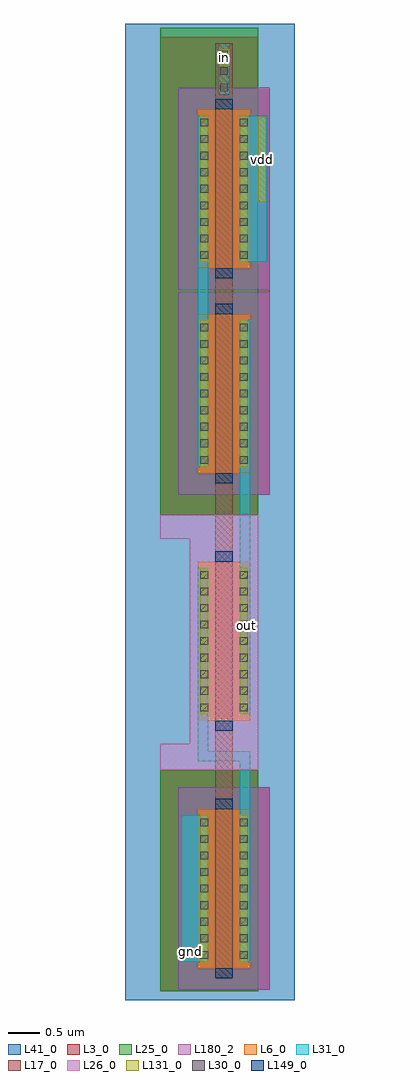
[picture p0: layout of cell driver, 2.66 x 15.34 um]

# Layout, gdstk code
from math import pi, radians
import gdstk
lib = gdstk.Library(unit=1e-6, precision=1e-09)
def R(c, l, rs):  # rectangles x0, y0, x1, y1
    for r in rs: c.add(gdstk.rectangle(r[:2], r[2:], *l))
def A(c, l, x, y, w, h, nx, ny, dx, dy):  # array of equal rectangles
    R(c, l, [(x+i*dx, y+j*dy, x+i*dx+w, y+j*dy+h) for i in range(nx) for j in range(ny)])
L3_0 = (3, 0)
L6_0 = (6, 0)
L17_0 = (17, 0)
L25_0 = (25, 0)
L26_0 = (26, 0)
L30_0 = (30, 0)
L31_0 = (31, 0)
L41_0 = (41, 0)
L131_0 = (131, 0)
L149_0 = (149, 0)
L180_2 = (180, 2)

pc_ct = lib.new_cell('pc_ct')
R(pc_ct, L30_0, [(0,0,0.12,0.12)])

nsvt25_cdns_576677129460 = lib.new_cell('nsvt25_CDNS_576677129460')
R(nsvt25_cdns_576677129460, L6_0, [(-0.27,0,0,2.5), (-0.27,0,0.55,2.5), (0.28,0,0.55,2.5)])
R(nsvt25_cdns_576677129460, L17_0, [(0,-0.16,0.28,2.66)])
R(nsvt25_cdns_576677129460, L26_0, [(-0.4,-0.36,0.68,2.86)])
R(nsvt25_cdns_576677129460, L31_0, [(-0.23,0.1,-0.11,2.4), (0.39,0.1,0.51,2.4)])
R(nsvt25_cdns_576677129460, L41_0, [(-0.54,-0.34,0.82,2.84)])
R(nsvt25_cdns_576677129460, L131_0, [(-0.23,0.1,-0.11,2.4), (0.39,0.1,0.51,2.4)])
R(nsvt25_cdns_576677129460, L149_0, [(0,-0.16,0.28,0), (0,2.5,0.28,2.66)])
r = gdstk.Reference(pc_ct, (0.39,0.15)); r.repetition = gdstk.Repetition(1, 9, v1=(0.26,0), v2=(0,0.26)); nsvt25_cdns_576677129460.add(r)
r = gdstk.Reference(pc_ct, (-0.23,0.15)); r.repetition = gdstk.Repetition(1, 9, v1=(0.26,0), v2=(0,0.26)); nsvt25_cdns_576677129460.add(r)
nsvt25_cdns_576677129460.add(gdstk.Label('d', (0.28,0), layer=6, texttype=0))
nsvt25_cdns_576677129460.add(gdstk.Label('s', (0,0), layer=6, texttype=0))
nsvt25_cdns_576677129460.add(gdstk.Label('d', (0.415,1.25), layer=127, texttype=0))
nsvt25_cdns_576677129460.add(gdstk.Label('s', (-0.135,1.25), layer=127, texttype=0))
nsvt25_cdns_576677129460.add(gdstk.Label('d', (0.45,1.25), layer=131, texttype=0))
nsvt25_cdns_576677129460.add(gdstk.Label('s', (-0.17,1.25), layer=131, texttype=0))
nsvt25_cdns_576677129460.add(gdstk.Label('g', (0.14,2.58), layer=149, texttype=0))
nsvt25_cdns_576677129460.add(gdstk.Label('g', (0.14,-0.08), layer=149, texttype=0))

psvt25_cdns_576677129461 = lib.new_cell('psvt25_CDNS_576677129461')
R(psvt25_cdns_576677129461, L3_0, [(-0.58,-0.34,0.86,2.84)])
R(psvt25_cdns_576677129461, L6_0, [(-0.27,0,0,2.5), (-0.27,0,0.55,2.5), (0.28,0,0.55,2.5)])
R(psvt25_cdns_576677129461, L17_0, [(0,-0.16,0.28,2.66)])
R(psvt25_cdns_576677129461, L25_0, [(-0.4,-0.36,0.68,2.86)])
R(psvt25_cdns_576677129461, L31_0, [(-0.23,0.1,-0.11,2.4), (0.39,0.1,0.51,2.4)])
R(psvt25_cdns_576677129461, L41_0, [(-0.58,-0.34,0.86,2.84)])
R(psvt25_cdns_576677129461, L131_0, [(-0.23,0.1,-0.11,2.4), (0.39,0.1,0.51,2.4)])
R(psvt25_cdns_576677129461, L149_0, [(0,-0.16,0.28,0), (0,2.5,0.28,2.66)])
R(psvt25_cdns_576677129461, L180_2, [(-0.58,-0.34,0.86,2.84)])
r = gdstk.Reference(pc_ct, (0.39,0.15)); r.repetition = gdstk.Repetition(1, 9, v1=(0.26,0), v2=(0,0.26)); psvt25_cdns_576677129461.add(r)
r = gdstk.Reference(pc_ct, (-0.23,0.15)); r.repetition = gdstk.Repetition(1, 9, v1=(0.26,0), v2=(0,0.26)); psvt25_cdns_576677129461.add(r)
psvt25_cdns_576677129461.add(gdstk.Label('d', (0.28,0), layer=6, texttype=0))
psvt25_cdns_576677129461.add(gdstk.Label('s', (0,0), layer=6, texttype=0))
psvt25_cdns_576677129461.add(gdstk.Label('d', (0.415,1.25), layer=127, texttype=0))
psvt25_cdns_576677129461.add(gdstk.Label('s', (-0.135,1.25), layer=127, texttype=0))
psvt25_cdns_576677129461.add(gdstk.Label('d', (0.45,1.25), layer=131, texttype=0))
psvt25_cdns_576677129461.add(gdstk.Label('s', (-0.17,1.25), layer=131, texttype=0))
psvt25_cdns_576677129461.add(gdstk.Label('g', (0.14,2.58), layer=149, texttype=0))
psvt25_cdns_576677129461.add(gdstk.Label('g', (0.14,-0.08), layer=149, texttype=0))
psvt25_cdns_576677129461.add(gdstk.Label('b', (0.14,1.25), layer=180, texttype=2))

m1__po_cdns_576677129460 = lib.new_cell('M1__PO_CDNS_576677129460')
R(m1__po_cdns_576677129460, L17_0, [(-0.08,-0.37,0.08,0.37)])
A(m1__po_cdns_576677129460, L30_0, -0.06, -0.32, 0.12, 0.12, 1, 3, 0, 0.26)
R(m1__po_cdns_576677129460, L31_0, [(-0.06,-0.37,0.06,0.37)])

driver = lib.new_cell('driver')
R(driver, L3_0, [(-1.86,0.63,-0.32,4.11), (-1.86,8.12,-0.32,15.63), (-0.32,11.61,-0.14,11.65)])
R(driver, L17_0, [(-1,3.64,-0.72,3.68), (-1,15.43,-0.72,15.53)])
R(driver, L25_0, [(-1.86,0.63,-1.4,3.85), (-1.86,3.85,-0.32,4.11), (-1.86,8.12,-0.32,8.41), (-1.86,8.41,-1.4,14.85), (-1.86,14.85,-0.32,15.63), (-1.86,15.63,-0.32,15.77)])
R(driver, L26_0, [(-1.86,4.11,-0.32,4.52), (-1.86,7.74,-0.32,8.12)])
R(driver, L31_0, [(-1.53,1.09,-1.23,3.39), (-0.61,1.09,-0.45,4.4), (-1.27,4.98,-1.11,7.28), (-0.61,4.98,-0.45,11.17), (-1.27,8.87,-1.11,14.39), (-0.49,12.09,-0.18,14.39), (-0.94,14.72,-0.78,15.53)])
R(driver, L41_0, [(-2.41,0.49,0.25,15.83)])
R(driver, L131_0, [(-1.44,1.2,-1.32,1.32), (-0.57,6.32,-0.45,6.44), (-0.32,13.04,-0.2,14.37), (-0.93,15.17,-0.78,15.43)])
driver.add(gdstk.FlexPath([(-1.19,4.98),(-1.19,4.32)], 0.16, ends=(0, 0.08), simple_path=True, layer=31, datatype=0))  # L31_0
driver.add(gdstk.FlexPath([(-1.19,4.32),(-0.49,4.32)], 0.16, ends=(0.08, 0), simple_path=True, layer=31, datatype=0))  # L31_0
driver.add(gdstk.FlexPath([(-0.86,14.625),(-0.86,15.43)], 0.28, ends="flush", simple_path=True, layer=17, datatype=0))  # L17_0
driver.add(gdstk.FlexPath([(-0.86,3.675),(-0.86,8.7)], 0.28, ends="flush", simple_path=True, layer=17, datatype=0))  # L17_0
driver.add(gdstk.FlexPath([(-0.86,11.96),(-0.86,11.34)], 0.28, ends="flush", simple_path=True, layer=17, datatype=0))  # L17_0
driver.add(gdstk.Reference(nsvt25_cdns_576677129460, (-1,4.88)))
driver.add(gdstk.Reference(psvt25_cdns_576677129461, (-0.72,3.49), rotation=pi))
driver.add(gdstk.Reference(psvt25_cdns_576677129461, (-0.72,14.49), rotation=pi))
driver.add(gdstk.Reference(psvt25_cdns_576677129461, (-1,8.77)))
driver.add(gdstk.Reference(m1__po_cdns_576677129460, (-0.86,15.09)))
driver.add(gdstk.Label('gnd', (-1.38,1.26), layer=131, texttype=0))
driver.add(gdstk.Label('vdd', (-0.26,13.705), layer=131, texttype=0))
driver.add(gdstk.Label('out', (-0.51,6.38), layer=131, texttype=0))
driver.add(gdstk.Label('in', (-0.855,15.3), layer=131, texttype=0))

lib.write_gds('driver.gds')
